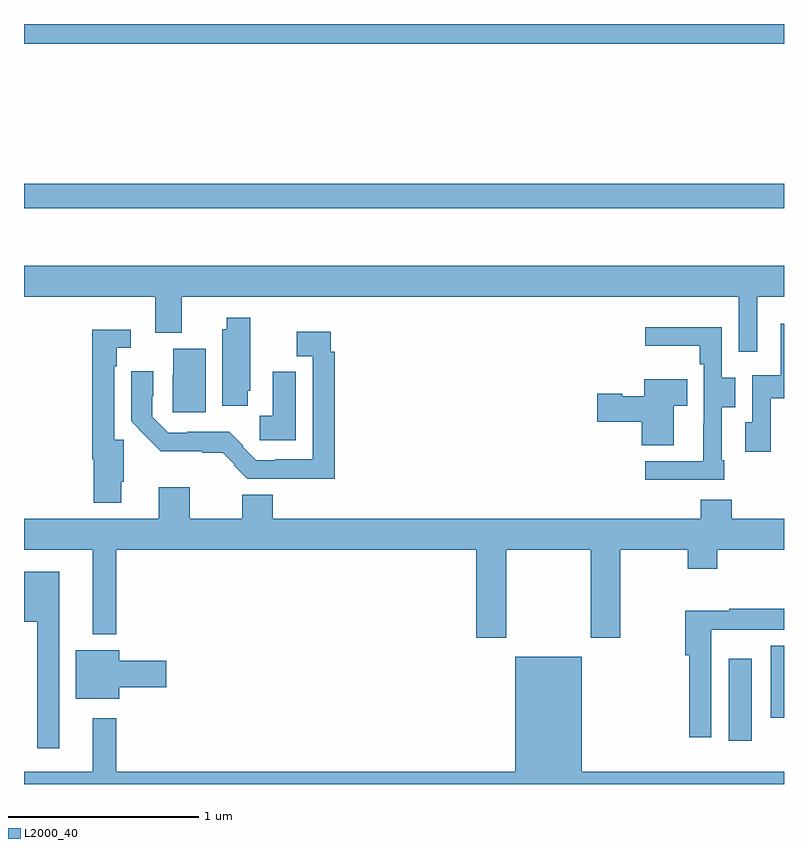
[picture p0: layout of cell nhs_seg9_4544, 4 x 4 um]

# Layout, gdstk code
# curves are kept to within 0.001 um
import gdstk
lib = gdstk.Library(unit=1e-6, precision=1e-09)
def R(c, l, rs):  # rectangles x0, y0, x1, y1
    for r in rs: c.add(gdstk.rectangle(r[:2], r[2:], *l))
def P(c, l, *ps):  # polygons
    for p in ps: c.add(gdstk.Polygon(p, *l))
L2000_40 = (2000, 40)

nhs_seg9_4544 = lib.new_cell('nhs_seg9_4544')
R(nhs_seg9_4544, L2000_40, [(374.708,1216.728,374.83,1217.158), (374.93,1216.848,375,1217.228), (371,1219.53,375,1219.658), (371,1220.396,375,1220.5)])
P(nhs_seg9_4544, L2000_40, [(374.859,1219.064),(375,1219.064),(375,1219.228),(371,1219.228),(371,1219.064),(371.69,1219.064),(371.69,1218.875),(371.83,1218.875),(371.83,1219.064),(374.763,1219.064),(374.763,1218.774),(374.859,1218.774)],
  [(372.178,1218.57),(372.19,1218.57),(372.19,1218.955),(372.068,1218.955),(372.068,1218.894),(372.044,1218.894),(372.044,1218.492),(372.178,1218.492)],
  [(374.931,1218.53),(375,1218.53),(375,1218.922),(374.982,1218.922),(374.982,1218.652),(374.832,1218.652),(374.832,1218.405),(374.795,1218.405),(374.795,1218.249),(374.931,1218.249)],
  [(374.686,1218.205),(374.673,1218.205),(374.673,1218.484),(374.743,1218.484),(374.743,1218.639),(374.673,1218.639),(374.673,1218.904),(374.271,1218.904),(374.271,1218.806),(374.557,1218.806),(374.557,1218.71),(374.577,1218.71),(374.577,1218.395),(374.576,1218.395),(374.576,1218.198),(374.271,1218.198),(374.271,1218.102),(374.686,1218.102)],
  [(371.512,1218.091),(371.525,1218.091),(371.525,1218.312),(371.475,1218.312),(371.475,1218.698),(371.487,1218.698),(371.487,1218.795),(371.563,1218.795),(371.563,1218.892),(371.359,1218.892),(371.359,1218.209),(371.366,1218.209),(371.366,1217.981),(371.512,1217.981)],
  [(372.635,1218.776),(372.615,1218.776),(372.615,1218.88),(372.436,1218.88),(372.436,1218.752),(372.519,1218.752),(372.519,1218.208),(372.322,1218.208),(372.322,1218.204),(372.222,1218.204),(372.15,1218.276),(372.153,1218.279),(372.079,1218.353),(371.86,1218.353),(371.86,1218.348),(371.76,1218.348),(371.676,1218.432),(371.676,1218.54),(371.68,1218.54),(371.68,1218.673),(371.564,1218.673),(371.564,1218.408),(371.719,1218.251),(371.939,1218.251),(371.939,1218.243),(372.047,1218.243),(372.109,1218.181),(372.105,1218.177),(372.175,1218.107),(372.635,1218.107)],
  [(371.956,1218.79),(371.786,1218.79),(371.786,1218.654),(371.783,1218.654),(371.783,1218.456),(371.956,1218.456)],
  [(372.43,1218.671),(372.308,1218.671),(372.308,1218.439),(372.24,1218.439),(372.24,1218.31),(372.43,1218.31)],
  [(374.419,1218.491),(374.492,1218.491),(374.492,1218.631),(374.264,1218.631),(374.264,1218.541),(374.148,1218.541),(374.148,1218.554),(374.016,1218.554),(374.016,1218.407),(374.252,1218.407),(374.252,1218.283),(374.419,1218.283)],
  [(373.539,1217.732),(373.984,1217.732),(373.984,1217.271),(374.139,1217.271),(374.139,1217.732),(374.494,1217.732),(374.494,1217.633),(374.649,1217.633),(374.649,1217.732),(375,1217.732),(375,1217.896),(374.726,1217.896),(374.726,1217.995),(374.561,1217.995),(374.561,1217.896),(372.31,1217.896),(372.31,1218.022),(372.149,1218.022),(372.149,1217.896),(371.872,1217.896),(371.872,1218.061),(371.708,1218.061),(371.708,1217.896),(371,1217.896),(371,1217.732),(371.363,1217.732),(371.363,1217.288),(371.485,1217.288),(371.485,1217.732),(373.379,1217.732),(373.379,1217.271),(373.539,1217.271)],
  [(371.185,1217.617),(371,1217.617),(371,1217.354),(371.071,1217.354),(371.071,1216.689),(371.185,1216.689)],
  [(374.616,1217.312),(374.826,1217.312),(374.826,1217.313),(375,1217.313),(375,1217.422),(374.713,1217.422),(374.713,1217.412),(374.479,1217.412),(374.479,1217.177),(374.5,1217.177),(374.5,1216.746),(374.616,1216.746)],
  [(371.5,1217.008),(371.749,1217.008),(371.749,1217.15),(371.5,1217.15),(371.5,1217.203),(371.273,1217.203),(371.273,1216.949),(371.5,1216.949)],
  [(375,1216.564),(373.936,1216.564),(373.936,1217.17),(373.586,1217.17),(373.586,1216.564),(371.485,1216.564),(371.485,1216.846),(371.363,1216.846),(371.363,1216.564),(371,1216.564),(371,1216.5),(375,1216.5)])

lib.write_gds('nhs_seg9_4544.gds')
